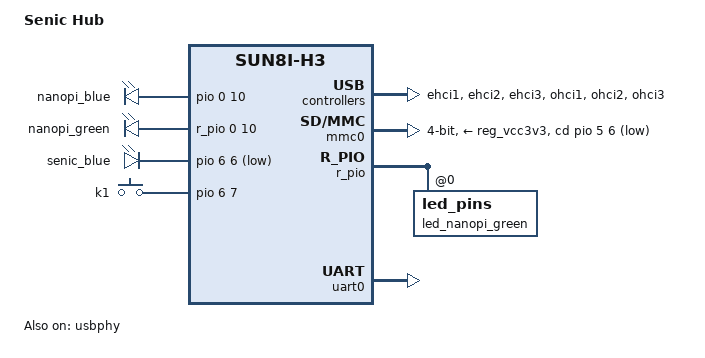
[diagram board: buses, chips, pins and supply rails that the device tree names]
/*
 * Copyright (C) 2017 Aravinth Panch <aravinth@senic.com>
 *
 * This file is dual-licensed: you can use it either under the terms
 * of the GPL or the X11 license, at your option. Note that this dual
 * licensing only applies to this file, and not this project as a
 * whole.
 *
 *  a) This file is free software; you can redistribute it and/or
 *     modify it under the terms of the GNU General Public License as
 *     published by the Free Software Foundation; either version 2 of the
 *     License, or (at your option) any later version.
 *
 *     This file is distributed in the hope that it will be useful,
 *     but WITHOUT ANY WARRANTY; without even the implied warranty of
 *     MERCHANTABILITY or FITNESS FOR A PARTICULAR PURPOSE.  See the
 *     GNU General Public License for more details.
 *
 * Or, alternatively,
 *
 *  b) Permission is hereby granted, free of charge, to any person
 *     obtaining a copy of this software and associated documentation
 *     files (the "Software"), to deal in the Software without
 *     restriction, including without limitation the rights to use,
 *     copy, modify, merge, publish, distribute, sublicense, and/or
 *     sell copies of the Software, and to permit persons to whom the
 *     Software is furnished to do so, subject to the following
 *     conditions:
 *
 *     The above copyright notice and this permission notice shall be
 *     included in all copies or substantial portions of the Software.
 *
 *     THE SOFTWARE IS PROVIDED "AS IS", WITHOUT WARRANTY OF ANY KIND,
 *     EXPRESS OR IMPLIED, INCLUDING BUT NOT LIMITED TO THE WARRANTIES
 *     OF MERCHANTABILITY, FITNESS FOR A PARTICULAR PURPOSE AND
 *     NONINFRINGEMENT. IN NO EVENT SHALL THE AUTHORS OR COPYRIGHT
 *     HOLDERS BE LIABLE FOR ANY CLAIM, DAMAGES OR OTHER LIABILITY,
 *     WHETHER IN AN ACTION OF CONTRACT, TORT OR OTHERWISE, ARISING
 *     FROM, OUT OF OR IN CONNECTION WITH THE SOFTWARE OR THE USE OR
 *     OTHER DEALINGS IN THE SOFTWARE.
 */

/dts-v1/;
#include "sun8i-h3.dtsi"
#include "sunxi-common-regulators.dtsi"

#include <dt-bindings/gpio/gpio.h>
#include <dt-bindings/input/input.h>
#include <dt-bindings/pinctrl/sun4i-a10.h>

/ {
	model = "Senic Hub";
	compatible = "friendlyarm,nanopi-neo", "allwinner,sun8i-h3";

	aliases {
		serial0 = &uart0;
	};

	chosen {
		stdout-path = "serial0:115200n8";
	};

	leds {
		compatible = "gpio-leds";
		pinctrl-names = "default";
		pinctrl-0 = <&led_nanopi_blue>, <&led_nanopi_green>, <&led_senic_blue>;

		/* Blue LED on Nanopi NEO */
		nanopi_blue {
			label = "nanopi_blue";
			gpios = <&pio 0 10 GPIO_ACTIVE_HIGH>;
			linux,default-trigger = "heartbeat";
		};

		/* Green LED on Nanopi NEO */
		nanopi_green {
			label = "nanopi_green";
			gpios = <&r_pio 0 10 GPIO_ACTIVE_HIGH>;
			default-state = "on";
		};

		/* Blue LED on Nanopi NEO */
		senic_blue {
			label = "senic_blue";
			gpios = <&pio 6 6 GPIO_ACTIVE_LOW>;
			linux,default-trigger = "heartbeat";
		};
	};

	gpio_keys {
		compatible = "gpio-keys";
		input-name = "k1";
		pinctrl-names = "default";
		pinctrl-0 = <&button_senic_reset>;

		/* Reset Button Senic Hub Baseboard */
		k1@0 {
			label = "k1";
			linux,code = <KEY_RESTART>;
			gpios = <&pio 6 7 GPIO_ACTIVE_HIGH>;
		};
	};
};

/* USB Buses */
&ehci1 {
	status = "okay";
};

&ehci2 {
	status = "okay";
};

&ehci3 {
	status = "okay";
};

&ohci1 {
	status = "okay";
};

&ohci2 {
	status = "okay";
};

&ohci3 {
	status = "okay";
};

/* SD Card Controller */
&mmc0 {
	bus-width = <4>;
	cd-gpios = <&pio 5 6 GPIO_ACTIVE_HIGH>; /* PF6 */
	cd-inverted;
	pinctrl-names = "default";
	pinctrl-0 = <&mmc0_pins_a>, <&mmc0_cd_pin>;
	status = "okay";
	vmmc-supply = <&reg_vcc3v3>;
};

&pio {

	/* Blue LED on Nanopi NEO */
	led_nanopi_blue: led_pins@0 {
		allwinner,pins = "PA10";
		allwinner,function = "gpio_out";
		allwinner,drive = <SUN4I_PINCTRL_10_MA>;
		allwinner,pull = <SUN4I_PINCTRL_NO_PULL>;
	};

	/* Blue LED on Senic Hub Baseboard */
	led_senic_blue: led_pins@0 {
		allwinner,pins = "PG6";
		allwinner,function = "gpio_out";
		allwinner,drive = <SUN4I_PINCTRL_10_MA>;
		allwinner,pull = <SUN4I_PINCTRL_NO_PULL>;
	};

	/* Reset Button Senic Hub Baseboard */
	button_senic_reset: key_pins@0 {
		allwinner,pins = "PG7";
		allwinner,function = "gpio_in";
		allwinner,drive = <SUN4I_PINCTRL_10_MA>;
		allwinner,pull = <SUN4I_PINCTRL_NO_PULL>;
	};
};

/* R_PIO Separate pinmux/GPIO controller for the PL and PM pins.*/
&r_pio {

	/* Green LED on Nanopi NEO */
	led_nanopi_green: led_pins@0 {
		allwinner,pins = "PL10";
		allwinner,function = "gpio_out";
		allwinner,drive = <SUN4I_PINCTRL_10_MA>;
		allwinner,pull = <SUN4I_PINCTRL_NO_PULL>;
	};
};

/* Debugging Serial Port */
&uart0 {
	pinctrl-names = "default";
	pinctrl-0 = <&uart0_pins_a>;
	status = "okay";
};

&usbphy {
	/* USB VBUS is always on */
	status = "okay";
};
